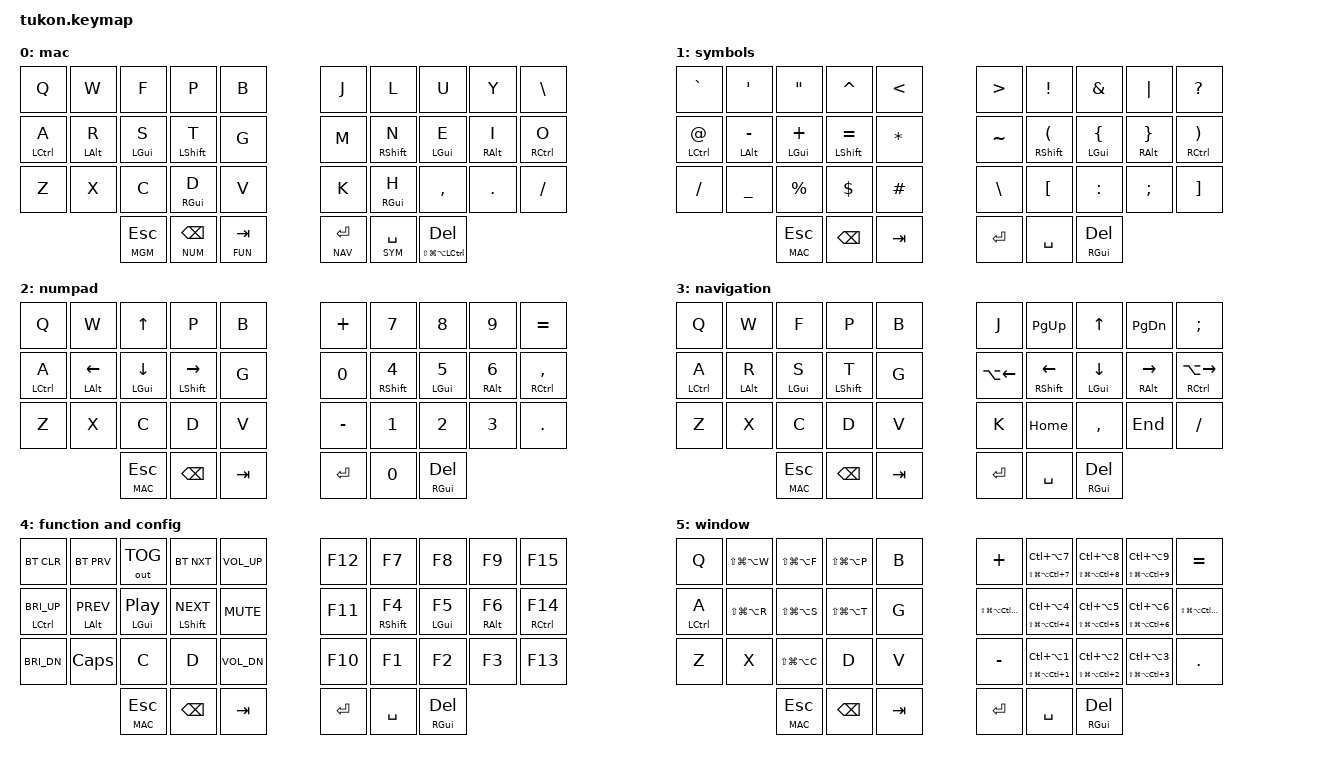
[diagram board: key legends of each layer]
#include <behaviors.dtsi>
#include <dt-bindings/zmk/keys.h>
#include <dt-bindings/zmk/bt.h>
#include <dt-bindings/zmk/outputs.h>

#define MAC 0
#define SYM 1
#define NUM 2
#define NAV 3
#define FUN 4
#define MGM 5

/ {
    behaviors {
        hm: homerow_mods {
                compatible = "zmk,behavior-hold-tap";
                #binding-cells = <2>;
                tapping-term-ms = <150>;
                quick-tap-ms = <0>;
                flavor = "tap-preferred";
                bindings = <&kp>, <&kp>;
        };
    };

    combos {
        compatible = "zmk,combos";

        combo_capslock {
            timeout-ms = <50>;  // Time window for pressing keys simultaneously
            bindings = <&kp CAPS>;  // Action when combo is triggered
            key-positions = <32 33>;  // Key positions in your keymap
        };
    };

    keymap {
            compatible = "zmk,keymap";
            default_layer {
                display-name  = "mac";
                bindings = <
                // ╭──────────────┬──────────────┬──────────────┬──────────────┬──────────────╮ ╭──────────────┬──────────────┬──────────────┬──────────────┬──────────────╮
                          &kp Q        &kp W           &kp F        &kp P            &kp B            &kp J          &kp L          &kp U          &kp Y      &kp BACKSLASH  
                // ├──────────────┼──────────────┼──────────────┼──────────────┼──────────────┤ ├──────────────┼──────────────┼──────────────┼──────────────┼──────────────┤
                      &hm LCTRL A    &hm LALT R      &hm LGUI S   &hm LSHIFT T       &kp G            &kp M      &hm RSHIFT N     &hm LGUI E     &hm RALT I    &hm RCTRL O
                // ├──────────────┼──────────────┼──────────────┼──────────────┼──────────────┤ ├──────────────┼──────────────┼──────────────┼──────────────┼──────────────┤
                         &kp Z         &kp X           &kp C       &hm RGUI D       &kp V             &kp K       &hm RGUI H     &kp COMMA       &kp DOT       &kp FSLH
                // ├──────────────┼──────────────┼──────────────┼──────────────┼──────────────┤ ├──────────────┼──────────────┼──────────────┼──────────────┼──────────────┤
                                                    &lt MGM ESC   &lt NUM BSPC    &lt FUN TAB      &lt NAV RET   &lt SYM SPACE   &hm LS(LG(LA(LCTRL)))  DEL
                //                               ╰──────────────┴──────────────┴──────────────╯ ╰──────────────┴──────────────┴──────────────╯
                >;
            };

            sym_layer {
                display-name  = "symbols";
                bindings = <
                // ╭──────────────┬──────────────┬──────────────┬──────────────┬──────────────╮ ╭──────────────┬──────────────┬──────────────┬──────────────┬──────────────╮
                       &kp GRAVE      &kp SQT        &kp DQT        &kp CARET      &kp LT            &kp GT        &kp EXCL        &kp AMPS       &kp PIPE      &kp QMARK   
                // ├──────────────┼──────────────┼──────────────┼──────────────┼──────────────┤ ├──────────────┼──────────────┼──────────────┼──────────────┼──────────────┤
                    &hm LCTRL AT   &hm LALT MINUS  &hm LGUI PLUS &hm LSHIFT EQUAL  &kp STAR         &kp TILDE   &hm RSHIFT LPAR &hm LGUI LBRC &hm RALT RBRC   &hm RCTRL RPAR
                // ├──────────────┼──────────────┼──────────────┼──────────────┼──────────────┤ ├──────────────┼──────────────┼──────────────┼──────────────┼──────────────┤
                    &kp FSLH        &kp UNDER      &kp PRCNT      &kp DLLR         &kp HASH       &kp BACKSLASH     &kp LBKT        &kp COLON       &kp SEMI    &kp RBKT
                // ├──────────────┼──────────────┼──────────────┼──────────────┼──────────────┤ ├──────────────┼──────────────┼──────────────┼──────────────┼──────────────┤
                                                   &lt MAC ESC     &kp BSPC        &kp TAB           &kp RET       &kp SPACE    &hm RGUI DEL
                //                               ╰──────────────┴──────────────┴──────────────╯ ╰──────────────┴──────────────┴──────────────╯
                >;
            };  

            num_layer {
                display-name  = "numpad";
                bindings = <
                // ╭──────────────┬──────────────┬──────────────┬──────────────┬──────────────╮ ╭──────────────┬──────────────┬──────────────┬──────────────┬──────────────╮
                    &kp Q        &kp W         &kp UP        &kp P            &kp B                &kp PLUS     &kp N7        &kp N8        &kp N9        &kp EQUAL
                // ├──────────────┼──────────────┼──────────────┼──────────────┼──────────────┤ ├──────────────┼──────────────┼──────────────┼──────────────┼──────────────┤
                    &hm LCTRL A  &hm LALT LEFT &hm LGUI DOWN &hm LSHIFT RIGHT &kp G                &kp N0       &hm RSHIFT N4 &hm LGUI N5   &hm RALT N6   &hm RCTRL COMMA
                // ├──────────────┼──────────────┼──────────────┼──────────────┼──────────────┤ ├──────────────┼──────────────┼──────────────┼──────────────┼──────────────┤
                    &kp Z        &kp X         &kp C         &kp D            &kp V                &kp MINUS    &kp N1        &kp N2        &kp N3        &kp DOT
                // ├──────────────┼──────────────┼──────────────┼──────────────┼──────────────┤ ├──────────────┼──────────────┼──────────────┼──────────────┼──────────────┤
                                               &lt MAC ESC   &kp BSPC         &kp TAB              &kp RET      &kp N0        &hm RGUI DEL
                //                               ╰──────────────┴──────────────┴──────────────╯ ╰──────────────┴──────────────┴──────────────╯
                >;
            };

            nav_layer {
                display-name  = "navigation";
                bindings = <
                // ╭──────────────┬──────────────┬──────────────┬──────────────┬──────────────╮ ╭──────────────┬──────────────┬──────────────┬──────────────┬──────────────╮
                         &kp Q        &kp W          &kp F        &kp P             &kp B             &kp J           &kp PG_UP       &kp UP        &kp PG_DN       &kp SEMI   
                // ├──────────────┼──────────────┼──────────────┼──────────────┼──────────────┤ ├──────────────┼──────────────┼──────────────┼──────────────┼──────────────┤
                    &hm LCTRL A       &hm LALT R      &hm LGUI S   &hm LSHIFT T     &kp G        &kp LA(LEFT)    &hm RSHIFT LEFT &hm LGUI DOWN &hm RALT RIGHT  &hm RCTRL LA(RIGHT)
                // ├──────────────┼──────────────┼──────────────┼──────────────┼──────────────┤ ├──────────────┼──────────────┼──────────────┼──────────────┼──────────────┤
                        &kp Z           &kp X        &kp C        &kp D        &kp V               &kp K           &kp HOME        &kp COMMA     &kp END         &kp FSLH
                // ├──────────────┼──────────────┼──────────────┼──────────────┼──────────────┤ ├──────────────┼──────────────┼──────────────┼──────────────┼──────────────┤
                                                    &lt MAC ESC  &kp BSPC     &kp TAB              &kp RET         &kp SPACE       &hm RGUI DEL
                //                               ╰──────────────┴──────────────┴──────────────╯ ╰──────────────┴──────────────┴──────────────╯
                >;
            };

            fun_layer {
                display-name  = "function and config";
                bindings = <
                // ╭──────────────┬──────────────┬──────────────┬──────────────┬──────────────╮ ╭──────────────┬──────────────┬──────────────┬──────────────┬──────────────╮
                    &bt BT_CLR     &bt BT_PRV       &out OUT_TOG    &bt BT_NXT     &kp C_VOL_UP   &kp F12        &kp F7           &kp F8        &kp F9       &kp F15   
                // ├──────────────┼──────────────┼──────────────┼──────────────┼──────────────┤ ├──────────────┼──────────────┼──────────────┼──────────────┼──────────────┤
                &hm LCTRL C_BRI_UP &hm LALT C_PREV  &hm LGUI C_PP &hm LSHIFT C_NEXT &kp C_MUTE &kp F11          &hm RSHIFT F4 &hm LGUI F5      &hm RALT F6     &hm RCTRL F14
                // ├──────────────┼──────────────┼──────────────┼──────────────┼──────────────┤ ├──────────────┼──────────────┼──────────────┼──────────────┼──────────────┤
                    &kp C_BRI_DN        &kp CAPS          &kp C           &kp D   &kp C_VOL_DN        &kp F10        &kp F1           &kp F2        &kp F3       &kp F13
                // ├──────────────┼──────────────┼──────────────┼──────────────┼──────────────┤ ├──────────────┼──────────────┼──────────────┼──────────────┼──────────────┤
                                                    &lt MAC ESC     &kp BSPC          &kp TAB      &kp RET        &kp SPACE        &hm RGUI DEL
                //                               ╰──────────────┴──────────────┴──────────────╯ ╰──────────────┴──────────────┴──────────────╯
                >;
            };

            win_layer {
                display-name  = "window";
                bindings = <
                    &kp Q        &kp LS(LG(LA(W)))  &kp LS(LG(LA(F)))        &kp LS(LG(LA(P)))     &kp B                &kp PLUS              &mt LS(LG(LA(LC(7)))) LC(LA(N7))  &mt LS(LG(LA(LC(8)))) LC(LA(N8))  &mt LS(LG(LA(LC(9)))) LC(LA(N9))   &kp EQUAL
                    &hm LCTRL A  &kp LS(LG(LA(R)))  &kp LS(LG(LA(S)))        &kp LS(LG(LA(T)))     &kp G                &kp LS(LG(LA(LC(M)))) &mt LS(LG(LA(LC(4)))) LC(LA(N4))  &mt LS(LG(LA(LC(5)))) LC(LA(N5))  &mt LS(LG(LA(LC(6)))) LC(LA(N6))   &kp LS(LG(LA(LC(O))))
                    &kp Z        &kp X              &kp LS(LG(LA(C)))        &kp D                 &kp V                &kp MINUS             &mt LS(LG(LA(LC(1)))) LC(LA(N1))  &mt LS(LG(LA(LC(2)))) LC(LA(N2))  &mt LS(LG(LA(LC(3)))) LC(LA(N3))   &kp DOT
                                                    &lt MAC ESC              &kp BSPC              &kp TAB              &kp RET               &kp SPACE                         &hm RGUI DEL
                >;
            };
    };
};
